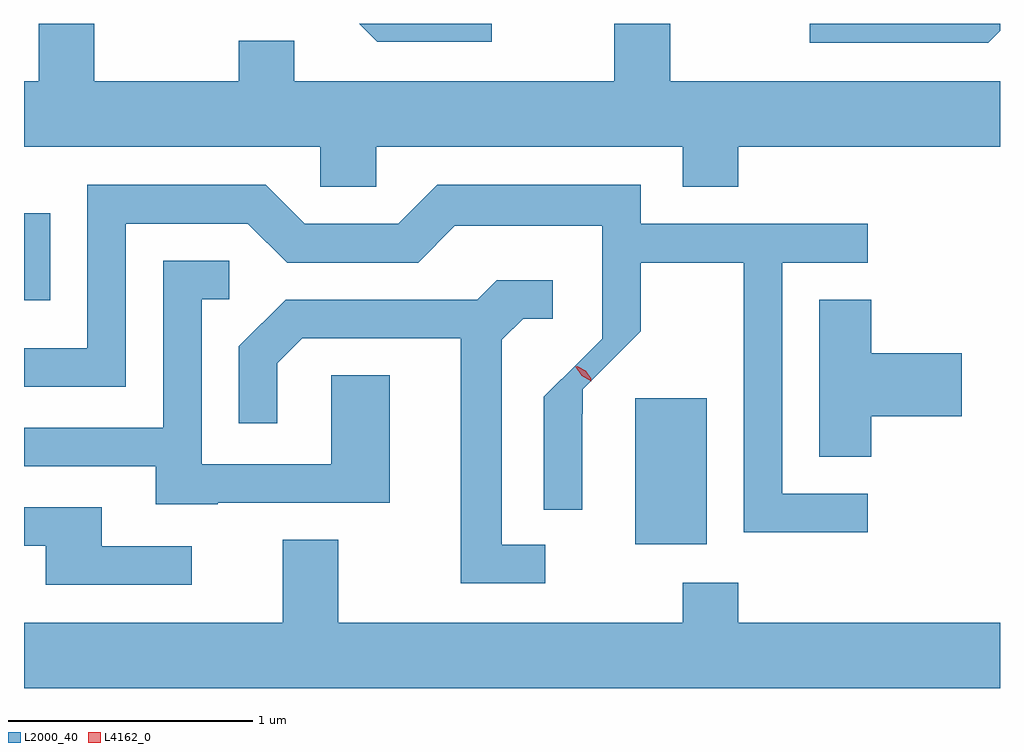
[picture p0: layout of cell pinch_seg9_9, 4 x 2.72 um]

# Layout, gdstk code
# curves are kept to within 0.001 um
import gdstk
lib = gdstk.Library(unit=1e-6, precision=1e-09)
def R(c, l, rs):  # rectangles x0, y0, x1, y1
    for r in rs: c.add(gdstk.rectangle(r[:2], r[2:], *l))
def P(c, l, *ps):  # polygons
    for p in ps: c.add(gdstk.Polygon(p, *l))
L2000_40 = (2000, 40)
L4162_0 = (4162, 0)

pinch_seg9_9 = lib.new_cell('pinch_seg9_9')
R(pinch_seg9_9, L2000_40, [(1908.756,1992.406,1909.049,1993.004), (1906.251,1993.406,1906.359,1993.763)])
P(pinch_seg9_9, L2000_40, [(1907.694,1994.036),(1908.951,1994.036),(1908.951,1993.871),(1909.179,1993.871),(1909.179,1994.036),(1910.251,1994.036),(1910.251,1994.304),(1908.899,1994.304),(1908.899,1994.54),(1908.671,1994.54),(1908.671,1994.304),(1907.359,1994.304),(1907.359,1994.469),(1907.131,1994.469),(1907.131,1994.304),(1906.539,1994.304),(1906.539,1994.54),(1906.311,1994.54),(1906.311,1994.304),(1906.251,1994.304),(1906.251,1994.036),(1907.466,1994.036),(1907.466,1993.871),(1907.694,1993.871)],
  [(1908.168,1994.54),(1907.625,1994.54),(1907.699,1994.466),(1908.168,1994.466)],
  [(1910.251,1994.51),(1910.251,1994.54),(1909.471,1994.54),(1909.471,1994.461),(1910.202,1994.461)],
  [(1909.708,1992.614),(1909.359,1992.614),(1909.359,1993.561),(1909.708,1993.561),(1909.708,1993.719),(1908.779,1993.719),(1908.779,1993.879),(1907.944,1993.879),(1907.784,1993.719),(1907.402,1993.719),(1907.242,1993.879),(1906.511,1993.879),(1906.511,1993.209),(1906.251,1993.209),(1906.251,1993.051),(1906.669,1993.051),(1906.669,1993.721),(1907.169,1993.721),(1907.329,1993.561),(1907.867,1993.561),(1908.017,1993.711),(1908.621,1993.711),(1908.62,1993.249),(1908.381,1993.012),(1908.381,1992.548),(1908.539,1992.548),(1908.539,1992.942),(1908.541,1992.942),(1908.541,1993.041),(1908.779,1993.279),(1908.779,1993.561),(1909.201,1993.561),(1909.201,1992.456),(1909.708,1992.456)],
  [(1907.045,1992.576),(1907.749,1992.576),(1907.749,1993.099),(1907.511,1993.099),(1907.511,1992.734),(1906.979,1992.734),(1906.979,1993.411),(1907.093,1993.411),(1907.093,1993.569),(1906.821,1993.569),(1906.821,1992.884),(1906.251,1992.884),(1906.251,1992.726),(1906.791,1992.726),(1906.791,1992.571),(1907.045,1992.571)],
  [(1908.388,1992.404),(1908.209,1992.404),(1908.209,1993.244),(1908.297,1993.331),(1908.418,1993.331),(1908.418,1993.489),(1908.189,1993.489),(1908.109,1993.409),(1907.324,1993.409),(1907.131,1993.217),(1907.131,1992.903),(1907.289,1992.903),(1907.289,1993.149),(1907.392,1993.251),(1908.041,1993.251),(1908.041,1992.246),(1908.388,1992.246)],
  [(1909.724,1992.931),(1910.094,1992.931),(1910.094,1993.189),(1909.724,1993.189),(1909.724,1993.409),(1909.511,1993.409),(1909.511,1992.766),(1909.724,1992.766)],
  [(1906.938,1992.399),(1906.569,1992.399),(1906.569,1992.559),(1906.251,1992.559),(1906.251,1992.401),(1906.341,1992.401),(1906.341,1992.241),(1906.938,1992.241)],
  [(1910.251,1992.084),(1909.179,1992.084),(1909.179,1992.249),(1908.951,1992.249),(1908.951,1992.084),(1907.539,1992.084),(1907.539,1992.424),(1907.311,1992.424),(1907.311,1992.084),(1906.251,1992.084),(1906.251,1991.816),(1910.251,1991.816)])
P(pinch_seg9_9, L4162_0, [(1908.575,1993.075),(1908.536,1993.098),(1908.51,1993.135),(1908.51,1993.135),(1908.51,1993.135),(1908.549,1993.113),(1908.576,1993.076),(1908.576,1993.075)],
  [(1908.574,1993.083),(1908.54,1993.102),(1908.517,1993.135),(1908.517,1993.135),(1908.518,1993.135),(1908.553,1993.117),(1908.575,1993.084),(1908.575,1993.083)])

lib.write_gds('pinch_seg9_9.gds')
